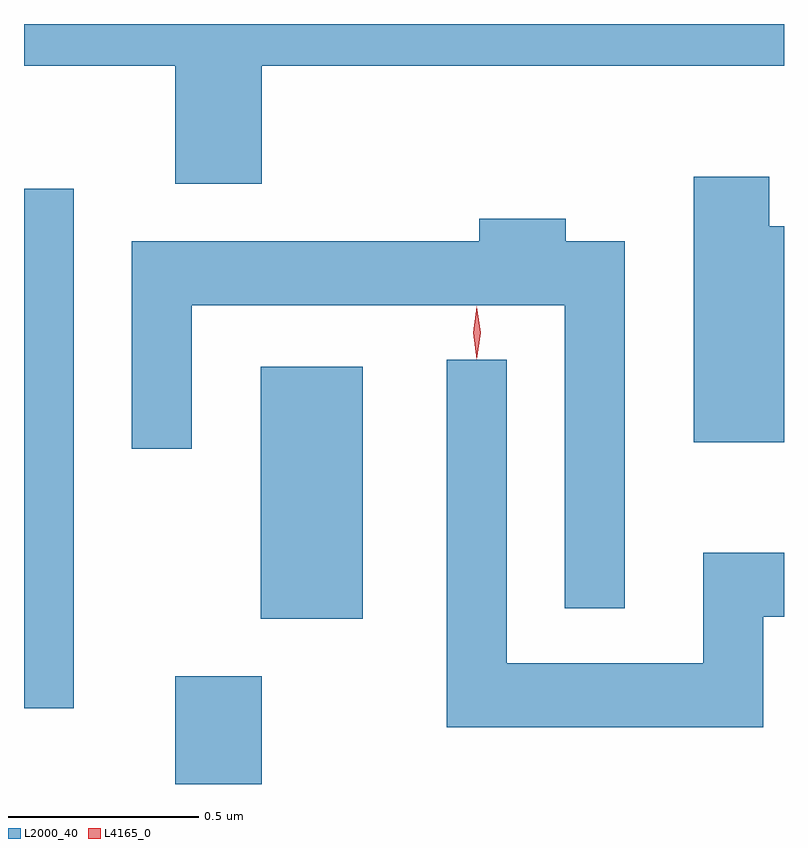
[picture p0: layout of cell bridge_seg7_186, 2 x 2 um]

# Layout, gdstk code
import gdstk
lib = gdstk.Library(unit=1e-6, precision=1e-09)
def R(c, l, rs):  # rectangles x0, y0, x1, y1
    for r in rs: c.add(gdstk.rectangle(r[:2], r[2:], *l))
def P(c, l, *ps):  # polygons
    for p in ps: c.add(gdstk.Polygon(p, *l))
L2000_40 = (2000, 40)
L4165_0 = (4165, 0)

bridge_seg7_186 = lib.new_cell('bridge_seg7_186')
R(bridge_seg7_186, L2000_40, [(1498.941,1696.886,1499.169,1697.169), (1498.543,1697.086,1498.674,1698.453), (1499.166,1697.321,1499.434,1697.984)])
P(bridge_seg7_186, L2000_40, [(1499.169,1698.776),(1500.543,1698.776),(1500.543,1698.886),(1498.543,1698.886),(1498.543,1698.776),(1498.941,1698.776),(1498.941,1698.466),(1499.169,1698.466)],
  [(1500.543,1698.354),(1500.504,1698.354),(1500.504,1698.484),(1500.306,1698.484),(1500.306,1697.786),(1500.543,1697.786)],
  [(1500.124,1698.314),(1499.969,1698.314),(1499.969,1698.374),(1499.741,1698.374),(1499.741,1698.314),(1498.826,1698.314),(1498.826,1697.768),(1498.984,1697.768),(1498.984,1698.146),(1499.966,1698.146),(1499.966,1697.348),(1500.124,1697.348)],
  [(1500.489,1697.326),(1500.543,1697.326),(1500.543,1697.494),(1500.331,1697.494),(1500.331,1697.204),(1499.814,1697.204),(1499.814,1698.003),(1499.656,1698.003),(1499.656,1697.036),(1500.489,1697.036)])
P(bridge_seg7_186, L4165_0, [(1499.734,1698.004),(1499.725,1698.073),(1499.734,1698.142),(1499.735,1698.143),(1499.735,1698.142),(1499.745,1698.073),(1499.735,1698.004),(1499.735,1698.004)],
  [(1499.734,1698.007),(1499.725,1698.074),(1499.734,1698.14),(1499.735,1698.14),(1499.735,1698.14),(1499.745,1698.074),(1499.735,1698.007),(1499.735,1698.007)])

lib.write_gds('bridge_seg7_186.gds')
